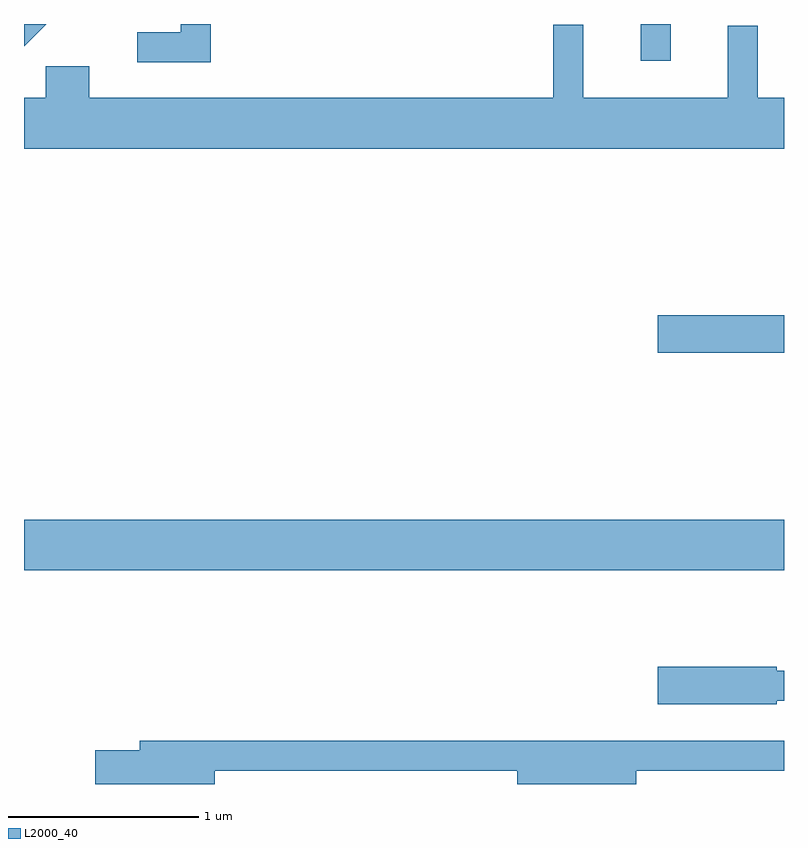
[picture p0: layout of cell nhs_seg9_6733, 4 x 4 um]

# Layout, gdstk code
import gdstk
lib = gdstk.Library(unit=1e-6, precision=1e-09)
def R(c, l, rs):  # rectangles x0, y0, x1, y1
    for r in rs: c.add(gdstk.rectangle(r[:2], r[2:], *l))
def P(c, l, *ps):  # polygons
    for p in ps: c.add(gdstk.Polygon(p, *l))
L2000_40 = (2000, 40)

nhs_seg9_6733 = lib.new_cell('nhs_seg9_6733')
R(nhs_seg9_6733, L2000_40, [(383.611,2029.556,387.611,2029.824), (386.946,2030.701,387.611,2030.899), (386.856,2032.238,387.014,2032.432)])
P(nhs_seg9_6733, L2000_40, [(384.594,2032.432),(384.436,2032.432),(384.436,2032.389),(384.208,2032.389),(384.208,2032.231),(384.594,2032.231)],
  [(383.727,2032.432),(383.611,2032.432),(383.611,2032.315)],
  [(387.611,2032.044),(387.474,2032.044),(387.474,2032.423),(387.316,2032.423),(387.316,2032.044),(386.554,2032.044),(386.554,2032.428),(386.396,2032.428),(386.396,2032.044),(383.954,2032.044),(383.954,2032.209),(383.726,2032.209),(383.726,2032.044),(383.611,2032.044),(383.611,2031.776),(387.611,2031.776)],
  [(387.574,2028.871),(387.611,2028.871),(387.611,2029.029),(387.574,2029.029),(387.574,2029.049),(386.946,2029.049),(386.946,2028.851),(387.574,2028.851)],
  [(384.614,2028.501),(386.206,2028.501),(386.206,2028.432),(386.834,2028.432),(386.834,2028.501),(387.611,2028.501),(387.611,2028.659),(384.221,2028.659),(384.221,2028.609),(383.986,2028.609),(383.986,2028.432),(384.614,2028.432)])

lib.write_gds('nhs_seg9_6733.gds')
